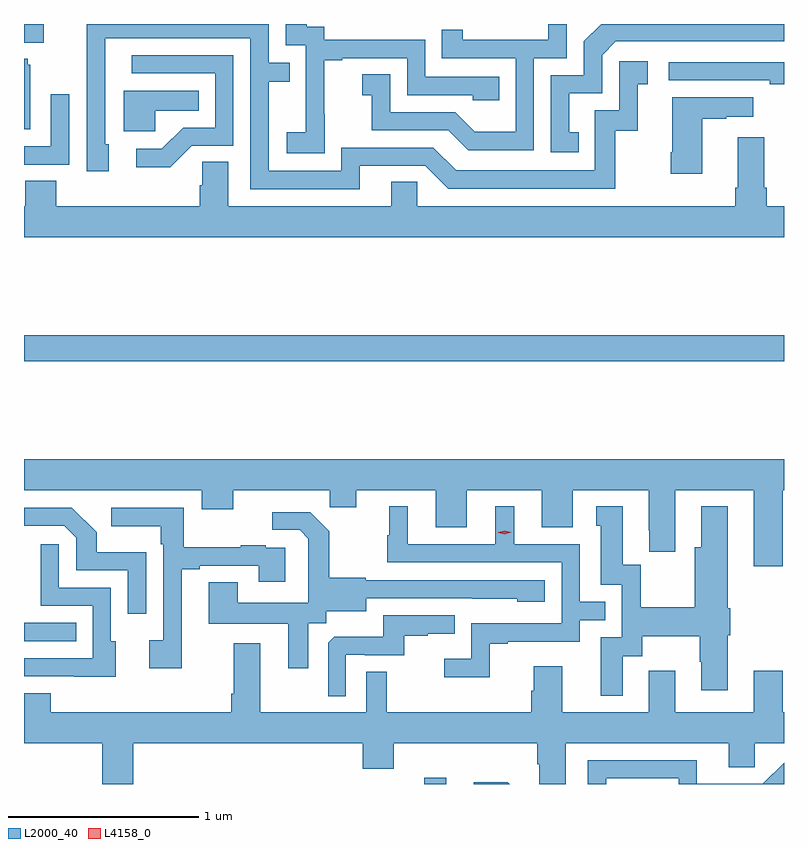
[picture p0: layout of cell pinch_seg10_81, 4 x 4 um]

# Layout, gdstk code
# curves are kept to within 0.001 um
import gdstk
lib = gdstk.Library(unit=1e-6, precision=1e-09)
def R(c, l, rs):  # rectangles x0, y0, x1, y1
    for r in rs: c.add(gdstk.rectangle(r[:2], r[2:], *l))
def P(c, l, *ps):  # polygons
    for p in ps: c.add(gdstk.Polygon(p, *l))
L2000_40 = (2000, 40)
L4158_0 = (4158, 0)

pinch_seg10_81 = lib.new_cell('pinch_seg10_81')
R(pinch_seg10_81, L2000_40, [(889.98,1293.442,890.095,1293.475), (887.873,1294.194,888.149,1294.29), (887.873,1295.668,891.873,1295.804), (887.873,1297.343,887.977,1297.442)])
P(pinch_seg10_81, L2000_40, [(889.639,1296.696),(889.986,1296.696),(890.106,1296.576),(890.986,1296.576),(890.986,1296.879),(891.104,1296.879),(891.104,1297.125),(891.157,1297.125),(891.157,1297.246),(891.006,1297.246),(891.006,1296.987),(890.877,1296.987),(890.877,1296.672),(890.148,1296.672),(890.028,1296.792),(889.542,1296.792),(889.542,1296.669),(889.161,1296.669),(889.161,1297.138),(889.271,1297.138),(889.271,1297.239),(889.161,1297.239),(889.161,1297.442),(888.202,1297.442),(888.202,1297.159),(888.204,1297.159),(888.204,1296.666),(888.319,1296.666),(888.319,1296.81),(888.3,1296.81),(888.301,1297.368),(889.065,1297.368),(889.065,1296.573),(889.639,1296.573)],
  [(889.455,1296.967),(889.454,1296.967),(889.454,1297.251),(889.549,1297.251),(889.549,1297.263),(889.89,1297.263),(889.89,1297.068),(890.235,1297.068),(890.235,1297.041),(890.375,1297.041),(890.375,1297.164),(889.986,1297.164),(889.986,1297.359),(889.452,1297.359),(889.452,1297.428),(889.36,1297.428),(889.36,1297.442),(889.251,1297.442),(889.251,1297.329),(889.356,1297.329),(889.356,1297.1),(889.355,1297.1),(889.355,1296.871),(889.257,1296.871),(889.257,1296.761),(889.455,1296.761)],
  [(890.792,1296.873),(890.743,1296.873),(890.743,1297.077),(890.916,1297.077),(890.916,1297.278),(890.988,1297.35),(891.873,1297.35),(891.873,1297.442),(890.912,1297.442),(890.82,1297.35),(890.82,1297.173),(890.646,1297.173),(890.646,1296.768),(890.792,1296.768)],
  [(890.556,1297.263),(890.73,1297.263),(890.73,1297.442),(890.633,1297.442),(890.633,1297.359),(890.182,1297.359),(890.182,1297.411),(890.071,1297.411),(890.071,1297.263),(890.46,1297.263),(890.46,1296.874),(890.246,1296.874),(890.142,1296.978),(889.8,1296.978),(889.8,1297.177),(889.653,1297.177),(889.653,1297.067),(889.702,1297.067),(889.702,1296.882),(890.105,1296.882),(890.21,1296.777),(890.556,1296.777)],
  [(888.756,1296.801),(888.975,1296.801),(888.975,1297.278),(888.441,1297.278),(888.441,1297.182),(888.879,1297.182),(888.879,1296.897),(888.71,1296.897),(888.599,1296.786),(888.465,1296.786),(888.465,1296.689),(888.643,1296.689)],
  [(887.905,1297.227),(887.894,1297.227),(887.894,1297.258),(887.873,1297.258),(887.873,1296.887),(887.905,1296.887)],
  [(891.873,1297.242),(891.267,1297.242),(891.267,1297.146),(891.799,1297.146),(891.799,1297.126),(891.873,1297.126)],
  [(888.564,1296.986),(888.794,1296.986),(888.794,1297.09),(888.398,1297.09),(888.398,1296.878),(888.564,1296.878)],
  [(888.111,1297.072),(888.015,1297.072),(888.015,1296.798),(887.873,1296.798),(887.873,1296.702),(888.111,1296.702)],
  [(891.442,1296.943),(891.569,1296.943),(891.569,1296.953),(891.712,1296.953),(891.712,1297.057),(891.284,1297.057),(891.284,1296.766),(891.277,1296.766),(891.277,1296.654),(891.442,1296.654)],
  [(891.873,1296.484),(891.782,1296.484),(891.782,1296.58),(891.769,1296.58),(891.769,1296.847),(891.629,1296.847),(891.629,1296.58),(891.617,1296.58),(891.617,1296.484),(889.944,1296.484),(889.944,1296.611),(889.805,1296.611),(889.805,1296.484),(888.949,1296.484),(888.949,1296.716),(888.81,1296.716),(888.81,1296.593),(888.797,1296.593),(888.797,1296.484),(888.044,1296.484),(888.044,1296.617),(887.879,1296.617),(887.879,1296.484),(887.873,1296.484),(887.873,1296.32),(891.873,1296.32)],
  [(891.866,1294.988),(891.873,1294.988),(891.873,1295.152),(887.873,1295.152),(887.873,1294.988),(888.809,1294.988),(888.809,1294.889),(888.973,1294.889),(888.973,1294.988),(889.483,1294.988),(889.483,1294.898),(889.621,1294.898),(889.621,1294.988),(890.039,1294.988),(890.039,1294.794),(890.203,1294.794),(890.203,1294.988),(890.597,1294.988),(890.597,1294.794),(890.761,1294.794),(890.761,1294.988),(891.161,1294.988),(891.161,1294.777),(891.163,1294.777),(891.163,1294.665),(891.301,1294.665),(891.301,1294.988),(891.713,1294.988),(891.713,1294.587),(891.866,1294.587)],
  [(891.025,1294.114),(891.127,1294.114),(891.127,1294.22),(891.43,1294.22),(891.43,1294.086),(891.437,1294.086),(891.437,1293.936),(891.577,1293.936),(891.577,1294.224),(891.59,1294.224),(891.59,1294.368),(891.577,1294.368),(891.577,1294.903),(891.437,1294.903),(891.437,1294.687),(891.404,1294.687),(891.404,1294.372),(891.118,1294.372),(891.118,1294.597),(891.025,1294.597),(891.025,1294.903),(890.885,1294.903),(890.885,1294.8),(890.909,1294.8),(890.909,1294.491),(891.018,1294.491),(891.018,1294.215),(890.909,1294.215),(890.909,1293.906),(891.025,1293.906)],
  [(890.325,1294.179),(890.419,1294.179),(890.419,1294.191),(890.799,1294.191),(890.799,1294.305),(890.933,1294.305),(890.933,1294.401),(890.799,1294.401),(890.799,1294.704),(890.452,1294.704),(890.452,1294.903),(890.354,1294.903),(890.354,1294.704),(889.894,1294.704),(889.894,1294.903),(889.796,1294.903),(889.796,1294.752),(889.785,1294.752),(889.785,1294.608),(890.703,1294.608),(890.703,1294.287),(890.226,1294.287),(890.226,1294.102),(890.085,1294.102),(890.085,1294.004),(890.325,1294.004)],
  [(888.703,1294.572),(888.799,1294.572),(888.799,1294.59),(889.109,1294.59),(889.109,1294.506),(889.249,1294.506),(889.249,1294.686),(889.145,1294.686),(889.145,1294.699),(889.013,1294.699),(889.013,1294.688),(888.715,1294.688),(888.715,1294.896),(888.333,1294.896),(888.333,1294.799),(888.594,1294.799),(888.594,1294.703),(888.606,1294.703),(888.606,1294.198),(888.531,1294.198),(888.531,1294.05),(888.703,1294.05)],
  [(888.516,1294.663),(888.255,1294.663),(888.255,1294.766),(888.124,1294.896),(887.873,1294.896),(887.873,1294.8),(888.084,1294.8),(888.147,1294.737),(888.147,1294.566),(888.42,1294.566),(888.42,1294.338),(888.516,1294.338)],
  [(889.369,1294.288),(889.464,1294.288),(889.464,1294.352),(889.675,1294.352),(889.675,1294.419),(890.469,1294.418),(890.469,1294.4),(890.614,1294.4),(890.614,1294.515),(889.671,1294.515),(889.671,1294.528),(889.479,1294.528),(889.479,1294.773),(889.379,1294.873),(889.179,1294.873),(889.179,1294.779),(889.323,1294.779),(889.37,1294.732),(889.37,1294.637),(889.368,1294.637),(889.368,1294.396),(888.997,1294.396),(888.997,1294.505),(888.845,1294.505),(888.845,1294.286),(889.265,1294.286),(889.265,1294.05),(889.369,1294.05)],
  [(888.355,1294.194),(888.33,1294.194),(888.33,1294.476),(888.057,1294.476),(888.057,1294.705),(887.961,1294.705),(887.961,1294.38),(888.234,1294.38),(888.234,1294.104),(887.873,1294.104),(887.873,1294.008),(888.137,1294.008),(888.137,1294.007),(888.355,1294.007)],
  [(889.566,1294.122),(889.666,1294.122),(889.666,1294.119),(889.874,1294.119),(889.874,1294.221),(889.997,1294.221),(889.997,1294.232),(890.141,1294.232),(890.141,1294.329),(889.764,1294.329),(889.764,1294.217),(889.505,1294.217),(889.473,1294.185),(889.473,1293.905),(889.566,1293.905)],
  [(888.448,1293.656),(889.655,1293.656),(889.655,1293.523),(889.82,1293.523),(889.82,1293.656),(890.573,1293.656),(890.573,1293.547),(890.586,1293.547),(890.586,1293.442),(890.725,1293.442),(890.725,1293.656),(891.581,1293.656),(891.581,1293.529),(891.72,1293.529),(891.72,1293.656),(891.873,1293.656),(891.873,1293.82),(891.866,1293.82),(891.866,1294.039),(891.713,1294.039),(891.713,1293.82),(891.301,1293.82),(891.301,1294.039),(891.161,1294.039),(891.161,1293.82),(890.707,1293.82),(890.707,1294.063),(890.555,1294.063),(890.555,1293.933),(890.543,1293.933),(890.543,1293.82),(889.783,1293.82),(889.783,1294.034),(889.674,1294.034),(889.674,1293.82),(889.117,1293.82),(889.117,1294.183),(888.977,1294.183),(888.977,1293.916),(888.965,1293.916),(888.965,1293.82),(888.013,1293.82),(888.013,1293.919),(887.873,1293.919),(887.873,1293.656),(888.284,1293.656),(888.284,1293.442),(888.448,1293.442)],
  [(890.937,1293.471),(891.318,1293.471),(891.318,1293.442),(891.873,1293.442),(891.873,1293.555),(891.762,1293.444),(891.415,1293.444),(891.415,1293.567),(890.841,1293.567),(890.841,1293.442),(890.937,1293.442)],
  [(890.419,1293.452),(890.241,1293.452),(890.241,1293.442),(890.429,1293.442)])
P(pinch_seg10_81, L4158_0, [(890.403,1294.756),(890.368,1294.765),(890.368,1294.765),(890.368,1294.766),(890.403,1294.776),(890.438,1294.767),(890.438,1294.767),(890.438,1294.767)])

lib.write_gds('pinch_seg10_81.gds')
